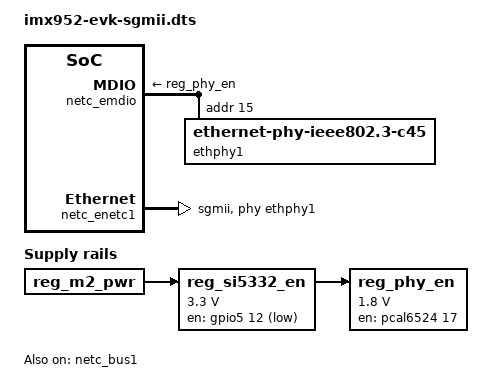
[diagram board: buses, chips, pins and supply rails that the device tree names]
// SPDX-License-Identifier: (GPL-2.0+ OR MIT)
/*
 * Copyright 2026 NXP
 */

#include "imx952-evk.dts"

/ {
	aliases {
		ethernet1 = &netc_enetc1;
	};

	reg_si5332_en: regulator-si5332-en {
		compatible = "regulator-fixed";
		pinctrl-names = "default";
		pinctrl-0 = <&pinctrl_si5332_pcie1_clk>;
		regulator-name = "SI5332_EN";
		regulator-min-microvolt = <3300000>;
		regulator-max-microvolt = <3300000>;
		vin-supply = <&reg_m2_pwr>;
		gpio = <&gpio5 12 GPIO_ACTIVE_LOW>;
	};

	reg_phy_en: regulator-phy-en {
		compatible = "regulator-fixed";
		regulator-name = "PHY_EN";
		regulator-min-microvolt = <1800000>;
		regulator-max-microvolt = <1800000>;
		vin-supply = <&reg_si5332_en>;
		gpio = <&pcal6524 17 GPIO_ACTIVE_HIGH>;
		enable-active-high;
	};
};

&netc_bus1 {
	power-domains = <&scmi_devpd IMX952_PD_HSIO_TOP>;
	status = "okay";
};

&netc_emdio {
	phy-supply = <&reg_phy_en>;

	ethphy1: ethernet-phy@f {
		compatible = "ethernet-phy-ieee802.3-c45";
		reg = <0xf>;
	};
};

&netc_enetc1 {
	managed = "in-band-status";
	phy-handle = <&ethphy1>;
	phy-mode = "sgmii";
	status = "okay";
};

&pcie0 {
	status = "disabled";
};

&pcie0_ep {
	status = "disabled";
};

&scmi_iomuxc {
	pinctrl_si5332_pcie1_clk: si5332pcie1clkgrp {
		fsl,pins = <
			IMX952_PAD_GPIO_IO32__WAKEUPMIX_TOP_GPIO5_IO_12			0x51e
		>;
	};
};
